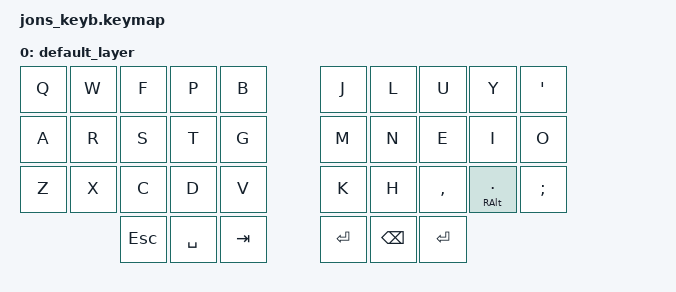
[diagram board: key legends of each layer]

#include <behaviors.dtsi>
#include <dt-bindings/zmk/keys.h>
#include <dt-bindings/zmk/bt.h>


/ {
        keymap {
                compatible = "zmk,keymap";
                default_layer {
                        bindings = <
        &kp Q           &kp W           &kp F           &kp P           &kp B                           &kp J           &kp L          &kp U          &kp Y           &kp SQT
        &kp A           &kp R           &kp S           &kp T           &kp G                           &kp M           &kp N          &kp E          &kp I           &kp O
        &kp Z           &kp X           &kp C           &kp D           &kp V                           &kp K           &kp H          &kp CMMA       &mt RALT DOT    &kp SEMI
                                        &kp ESC         &kp SPACE       &kp TAB                         &kp ENTER       &kp BSPC       &kp ENTER
                        >;
                };
        };
};
